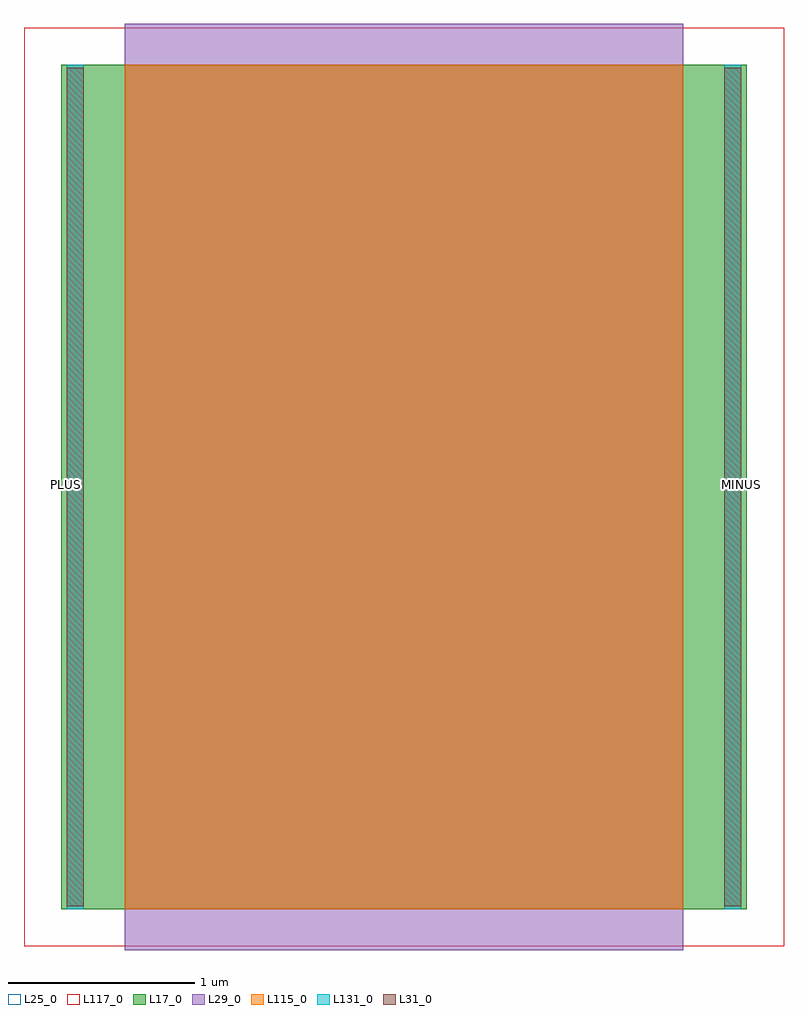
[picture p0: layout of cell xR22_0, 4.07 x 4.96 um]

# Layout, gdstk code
import gdstk
lib = gdstk.Library(unit=1e-6, precision=1e-09)
def R(c, l, rs):  # rectangles x0, y0, x1, y1
    for r in rs: c.add(gdstk.rectangle(r[:2], r[2:], *l))
L17_0 = (17, 0)
L25_0 = (25, 0)
L29_0 = (29, 0)
L31_0 = (31, 0)
L115_0 = (115, 0)
L117_0 = (117, 0)
L131_0 = (131, 0)

xr22_0 = lib.new_cell('xR22_0')
R(xr22_0, L17_0, [(0.2,0.22,3.87,4.74)])
R(xr22_0, L25_0, [(0,0.02,4.07,4.94)])
R(xr22_0, L29_0, [(0.54,0,3.53,4.96)])
R(xr22_0, L31_0, [(0.23,0.235,0.32,4.725), (3.75,0.235,3.84,4.725)])
R(xr22_0, L115_0, [(0.54,0.22,3.53,4.74)])
R(xr22_0, L117_0, [(0,0.02,4.07,4.94)])
R(xr22_0, L131_0, [(0.23,0.22,0.32,4.74), (3.75,0.22,3.84,4.74)])
xr22_0.add(gdstk.Label('PLUS', (0.23,2.495), layer=131, texttype=0))
xr22_0.add(gdstk.Label('MINUS', (3.84,2.495), layer=131, texttype=0))

lib.write_gds('xR22_0.gds')
